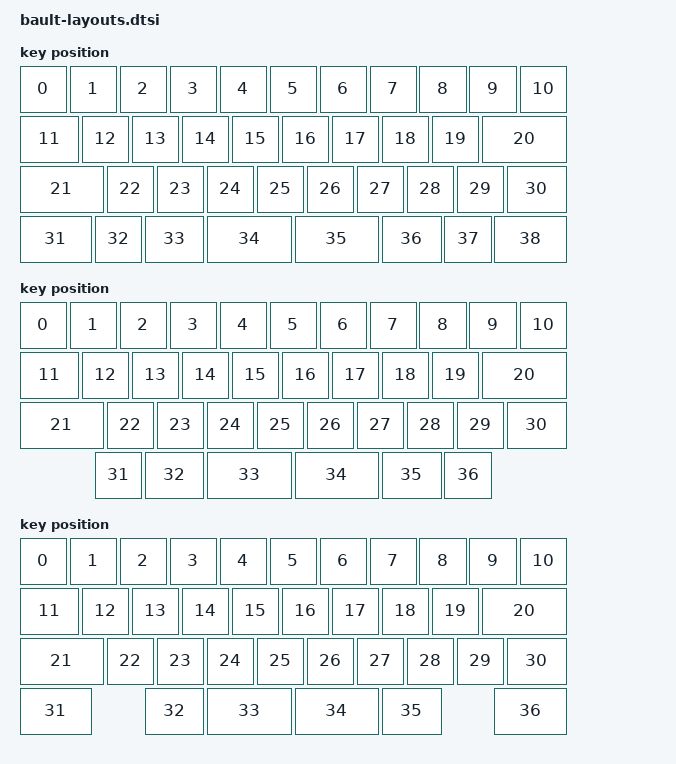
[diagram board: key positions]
/*
 * Copyright (c) 2024 Brandon Beltran
 *
 * SPDX-License-Identifier: MIT
 */

#include <physical_layouts.dtsi>

/ {
    chosen {
        zmk,physical-layout = &default_layout;
    };

    default_layout: layout_0 {
        compatible = "zmk,physical-layout";
        display-name = "Default";

        transform = <&default_transform>;

        keys  //                     w   h    x    y     rot   rx   ry
            = <&key_physical_attrs 100 100    0    0       0    0    0>
            , <&key_physical_attrs 100 100  100    0       0    0    0>
            , <&key_physical_attrs 100 100  200    0       0    0    0>
            , <&key_physical_attrs 100 100  300    0       0    0    0>
            , <&key_physical_attrs 100 100  400    0       0    0    0>
            , <&key_physical_attrs 100 100  500    0       0    0    0>
            , <&key_physical_attrs 100 100  600    0       0    0    0>
            , <&key_physical_attrs 100 100  700    0       0    0    0>
            , <&key_physical_attrs 100 100  800    0       0    0    0>
            , <&key_physical_attrs 100 100  900    0       0    0    0>
            , <&key_physical_attrs 100 100 1000    0       0    0    0>
            , <&key_physical_attrs 125 100    0  100       0    0    0>
            , <&key_physical_attrs 100 100  125  100       0    0    0>
            , <&key_physical_attrs 100 100  225  100       0    0    0>
            , <&key_physical_attrs 100 100  325  100       0    0    0>
            , <&key_physical_attrs 100 100  425  100       0    0    0>
            , <&key_physical_attrs 100 100  525  100       0    0    0>
            , <&key_physical_attrs 100 100  625  100       0    0    0>
            , <&key_physical_attrs 100 100  725  100       0    0    0>
            , <&key_physical_attrs 100 100  825  100       0    0    0>
            , <&key_physical_attrs 175 100  925  100       0    0    0>
            , <&key_physical_attrs 175 100    0  200       0    0    0>
            , <&key_physical_attrs 100 100  175  200       0    0    0>
            , <&key_physical_attrs 100 100  275  200       0    0    0>
            , <&key_physical_attrs 100 100  375  200       0    0    0>
            , <&key_physical_attrs 100 100  475  200       0    0    0>
            , <&key_physical_attrs 100 100  575  200       0    0    0>
            , <&key_physical_attrs 100 100  675  200       0    0    0>
            , <&key_physical_attrs 100 100  775  200       0    0    0>
            , <&key_physical_attrs 100 100  875  200       0    0    0>
            , <&key_physical_attrs 125 100  975  200       0    0    0>
            , <&key_physical_attrs 150 100    0  300       0    0    0>
            , <&key_physical_attrs 100 100  150  300       0    0    0>
            , <&key_physical_attrs 125 100  250  300       0    0    0>
            , <&key_physical_attrs 175 100  375  300       0    0    0>
            , <&key_physical_attrs 175 100  550  300       0    0    0>
            , <&key_physical_attrs 125 100  725  300       0    0    0>
            , <&key_physical_attrs 100 100  850  300       0    0    0>
            , <&key_physical_attrs 150 100  950  300       0    0    0>
            ;
    };

/*
    default_5key_layout: layout_1 {
        compatible = "zmk,physical-layout";
        display-name = "Default / 5-key split";

        transform = <&default_5key_transform>;

        keys  //                     w   h    x    y     rot   rx   ry
            = <&key_physical_attrs 100 100    0    0       0    0    0>
            , <&key_physical_attrs 100 100  100    0       0    0    0>
            , <&key_physical_attrs 100 100  200    0       0    0    0>
            , <&key_physical_attrs 100 100  300    0       0    0    0>
            , <&key_physical_attrs 100 100  400    0       0    0    0>
            , <&key_physical_attrs 100 100  500    0       0    0    0>
            , <&key_physical_attrs 100 100  600    0       0    0    0>
            , <&key_physical_attrs 100 100  700    0       0    0    0>
            , <&key_physical_attrs 100 100  800    0       0    0    0>
            , <&key_physical_attrs 100 100  900    0       0    0    0>
            , <&key_physical_attrs 100 100 1000    0       0    0    0>
            , <&key_physical_attrs 125 100    0  100       0    0    0>
            , <&key_physical_attrs 100 100  125  100       0    0    0>
            , <&key_physical_attrs 100 100  225  100       0    0    0>
            , <&key_physical_attrs 100 100  325  100       0    0    0>
            , <&key_physical_attrs 100 100  425  100       0    0    0>
            , <&key_physical_attrs 100 100  525  100       0    0    0>
            , <&key_physical_attrs 100 100  625  100       0    0    0>
            , <&key_physical_attrs 100 100  725  100       0    0    0>
            , <&key_physical_attrs 100 100  825  100       0    0    0>
            , <&key_physical_attrs 175 100  925  100       0    0    0>
            , <&key_physical_attrs 175 100    0  200       0    0    0>
            , <&key_physical_attrs 100 100  175  200       0    0    0>
            , <&key_physical_attrs 100 100  275  200       0    0    0>
            , <&key_physical_attrs 100 100  375  200       0    0    0>
            , <&key_physical_attrs 100 100  475  200       0    0    0>
            , <&key_physical_attrs 100 100  575  200       0    0    0>
            , <&key_physical_attrs 100 100  675  200       0    0    0>
            , <&key_physical_attrs 100 100  775  200       0    0    0>
            , <&key_physical_attrs 100 100  875  200       0    0    0>
            , <&key_physical_attrs 125 100  975  200       0    0    0>
            , <&key_physical_attrs 150 100    0  300       0    0    0>
            , <&key_physical_attrs 125 100  150  300       0    0    0>
            , <&key_physical_attrs 125 100  275  300       0    0    0>
            , <&key_physical_attrs 300 100  400  300       0    0    0>
            , <&key_physical_attrs 125 100  700  300       0    0    0>
            , <&key_physical_attrs 125 100  825  300       0    0    0>
            , <&key_physical_attrs 150 100  950  300       0    0    0>
            ;
    };

    default_4key_layout: layout_2 {
        compatible = "zmk,physical-layout";
        display-name = "Default / 4-key split";

        transform = <&default_4key_transform>;


        keys  //                     w   h    x    y     rot   rx   ry
            = <&key_physical_attrs 100 100    0    0       0    0    0>
            , <&key_physical_attrs 100 100  100    0       0    0    0>
            , <&key_physical_attrs 100 100  200    0       0    0    0>
            , <&key_physical_attrs 100 100  300    0       0    0    0>
            , <&key_physical_attrs 100 100  400    0       0    0    0>
            , <&key_physical_attrs 100 100  500    0       0    0    0>
            , <&key_physical_attrs 100 100  600    0       0    0    0>
            , <&key_physical_attrs 100 100  700    0       0    0    0>
            , <&key_physical_attrs 100 100  800    0       0    0    0>
            , <&key_physical_attrs 100 100  900    0       0    0    0>
            , <&key_physical_attrs 100 100 1000    0       0    0    0>
            , <&key_physical_attrs 125 100    0  100       0    0    0>
            , <&key_physical_attrs 100 100  125  100       0    0    0>
            , <&key_physical_attrs 100 100  225  100       0    0    0>
            , <&key_physical_attrs 100 100  325  100       0    0    0>
            , <&key_physical_attrs 100 100  425  100       0    0    0>
            , <&key_physical_attrs 100 100  525  100       0    0    0>
            , <&key_physical_attrs 100 100  625  100       0    0    0>
            , <&key_physical_attrs 100 100  725  100       0    0    0>
            , <&key_physical_attrs 100 100  825  100       0    0    0>
            , <&key_physical_attrs 175 100  925  100       0    0    0>
            , <&key_physical_attrs 175 100    0  200       0    0    0>
            , <&key_physical_attrs 100 100  175  200       0    0    0>
            , <&key_physical_attrs 100 100  275  200       0    0    0>
            , <&key_physical_attrs 100 100  375  200       0    0    0>
            , <&key_physical_attrs 100 100  475  200       0    0    0>
            , <&key_physical_attrs 100 100  575  200       0    0    0>
            , <&key_physical_attrs 100 100  675  200       0    0    0>
            , <&key_physical_attrs 100 100  775  200       0    0    0>
            , <&key_physical_attrs 100 100  875  200       0    0    0>
            , <&key_physical_attrs 125 100  975  200       0    0    0>
            , <&key_physical_attrs 150 100    0  300       0    0    0>
            , <&key_physical_attrs 100 100  150  300       0    0    0>
            , <&key_physical_attrs 300 100  250  300       0    0    0>
            , <&key_physical_attrs 300 100  550  300       0    0    0>
            , <&key_physical_attrs 100 100  850  300       0    0    0>
            , <&key_physical_attrs 150 100  950  300       0    0    0>
            ;
    };

    default_bigbar_layout: layout_3 {
        compatible = "zmk,physical-layout";
        display-name = "Default / Big Bar";

        transform = <&default_bigbar_transform>;

        keys  //                     w   h    x    y     rot   rx   ry
            = <&key_physical_attrs 100 100    0    0       0    0    0>
            , <&key_physical_attrs 100 100  100    0       0    0    0>
            , <&key_physical_attrs 100 100  200    0       0    0    0>
            , <&key_physical_attrs 100 100  300    0       0    0    0>
            , <&key_physical_attrs 100 100  400    0       0    0    0>
            , <&key_physical_attrs 100 100  500    0       0    0    0>
            , <&key_physical_attrs 100 100  600    0       0    0    0>
            , <&key_physical_attrs 100 100  700    0       0    0    0>
            , <&key_physical_attrs 100 100  800    0       0    0    0>
            , <&key_physical_attrs 100 100  900    0       0    0    0>
            , <&key_physical_attrs 100 100 1000    0       0    0    0>
            , <&key_physical_attrs 125 100    0  100       0    0    0>
            , <&key_physical_attrs 100 100  125  100       0    0    0>
            , <&key_physical_attrs 100 100  225  100       0    0    0>
            , <&key_physical_attrs 100 100  325  100       0    0    0>
            , <&key_physical_attrs 100 100  425  100       0    0    0>
            , <&key_physical_attrs 100 100  525  100       0    0    0>
            , <&key_physical_attrs 100 100  625  100       0    0    0>
            , <&key_physical_attrs 100 100  725  100       0    0    0>
            , <&key_physical_attrs 100 100  825  100       0    0    0>
            , <&key_physical_attrs 175 100  925  100       0    0    0>
            , <&key_physical_attrs 175 100    0  200       0    0    0>
            , <&key_physical_attrs 100 100  175  200       0    0    0>
            , <&key_physical_attrs 100 100  275  200       0    0    0>
            , <&key_physical_attrs 100 100  375  200       0    0    0>
            , <&key_physical_attrs 100 100  475  200       0    0    0>
            , <&key_physical_attrs 100 100  575  200       0    0    0>
            , <&key_physical_attrs 100 100  675  200       0    0    0>
            , <&key_physical_attrs 100 100  775  200       0    0    0>
            , <&key_physical_attrs 100 100  875  200       0    0    0>
            , <&key_physical_attrs 125 100  975  200       0    0    0>
            , <&key_physical_attrs 150 100    0  300       0    0    0>
            , <&key_physical_attrs 100 100  150  300       0    0    0>
            , <&key_physical_attrs 600 100  250  300       0    0    0>
            , <&key_physical_attrs 100 100  850  300       0    0    0>
            , <&key_physical_attrs 150 100  950  300       0    0    0>
            ;
    };
*/

    hhkb_layout: layout_4 {
        compatible = "zmk,physical-layout";
        display-name = "HHKB";

        transform = <&hhkb_transform>;

        keys  //                     w   h    x    y     rot   rx   ry
            = <&key_physical_attrs 100 100    0    0       0    0    0>
            , <&key_physical_attrs 100 100  100    0       0    0    0>
            , <&key_physical_attrs 100 100  200    0       0    0    0>
            , <&key_physical_attrs 100 100  300    0       0    0    0>
            , <&key_physical_attrs 100 100  400    0       0    0    0>
            , <&key_physical_attrs 100 100  500    0       0    0    0>
            , <&key_physical_attrs 100 100  600    0       0    0    0>
            , <&key_physical_attrs 100 100  700    0       0    0    0>
            , <&key_physical_attrs 100 100  800    0       0    0    0>
            , <&key_physical_attrs 100 100  900    0       0    0    0>
            , <&key_physical_attrs 100 100 1000    0       0    0    0>
            , <&key_physical_attrs 125 100    0  100       0    0    0>
            , <&key_physical_attrs 100 100  125  100       0    0    0>
            , <&key_physical_attrs 100 100  225  100       0    0    0>
            , <&key_physical_attrs 100 100  325  100       0    0    0>
            , <&key_physical_attrs 100 100  425  100       0    0    0>
            , <&key_physical_attrs 100 100  525  100       0    0    0>
            , <&key_physical_attrs 100 100  625  100       0    0    0>
            , <&key_physical_attrs 100 100  725  100       0    0    0>
            , <&key_physical_attrs 100 100  825  100       0    0    0>
            , <&key_physical_attrs 175 100  925  100       0    0    0>
            , <&key_physical_attrs 175 100    0  200       0    0    0>
            , <&key_physical_attrs 100 100  175  200       0    0    0>
            , <&key_physical_attrs 100 100  275  200       0    0    0>
            , <&key_physical_attrs 100 100  375  200       0    0    0>
            , <&key_physical_attrs 100 100  475  200       0    0    0>
            , <&key_physical_attrs 100 100  575  200       0    0    0>
            , <&key_physical_attrs 100 100  675  200       0    0    0>
            , <&key_physical_attrs 100 100  775  200       0    0    0>
            , <&key_physical_attrs 100 100  875  200       0    0    0>
            , <&key_physical_attrs 125 100  975  200       0    0    0>
            , <&key_physical_attrs 100 100  150  300       0    0    0>
            , <&key_physical_attrs 125 100  250  300       0    0    0>
            , <&key_physical_attrs 175 100  375  300       0    0    0>
            , <&key_physical_attrs 175 100  550  300       0    0    0>
            , <&key_physical_attrs 125 100  725  300       0    0    0>
            , <&key_physical_attrs 100 100  850  300       0    0    0>
            ;
    };

/*
    hhkb_5key_layout: layout_5 {
        compatible = "zmk,physical-layout";
        display-name = "HHKB / 5-key split";

        transform = <&hhkb_5key_transform>;

        keys  //                     w   h    x    y     rot   rx   ry
            = <&key_physical_attrs 100 100    0    0       0    0    0>
            , <&key_physical_attrs 100 100  100    0       0    0    0>
            , <&key_physical_attrs 100 100  200    0       0    0    0>
            , <&key_physical_attrs 100 100  300    0       0    0    0>
            , <&key_physical_attrs 100 100  400    0       0    0    0>
            , <&key_physical_attrs 100 100  500    0       0    0    0>
            , <&key_physical_attrs 100 100  600    0       0    0    0>
            , <&key_physical_attrs 100 100  700    0       0    0    0>
            , <&key_physical_attrs 100 100  800    0       0    0    0>
            , <&key_physical_attrs 100 100  900    0       0    0    0>
            , <&key_physical_attrs 100 100 1000    0       0    0    0>
            , <&key_physical_attrs 125 100    0  100       0    0    0>
            , <&key_physical_attrs 100 100  125  100       0    0    0>
            , <&key_physical_attrs 100 100  225  100       0    0    0>
            , <&key_physical_attrs 100 100  325  100       0    0    0>
            , <&key_physical_attrs 100 100  425  100       0    0    0>
            , <&key_physical_attrs 100 100  525  100       0    0    0>
            , <&key_physical_attrs 100 100  625  100       0    0    0>
            , <&key_physical_attrs 100 100  725  100       0    0    0>
            , <&key_physical_attrs 100 100  825  100       0    0    0>
            , <&key_physical_attrs 175 100  925  100       0    0    0>
            , <&key_physical_attrs 175 100    0  200       0    0    0>
            , <&key_physical_attrs 100 100  175  200       0    0    0>
            , <&key_physical_attrs 100 100  275  200       0    0    0>
            , <&key_physical_attrs 100 100  375  200       0    0    0>
            , <&key_physical_attrs 100 100  475  200       0    0    0>
            , <&key_physical_attrs 100 100  575  200       0    0    0>
            , <&key_physical_attrs 100 100  675  200       0    0    0>
            , <&key_physical_attrs 100 100  775  200       0    0    0>
            , <&key_physical_attrs 100 100  875  200       0    0    0>
            , <&key_physical_attrs 125 100  975  200       0    0    0>
            , <&key_physical_attrs 125 100  150  300       0    0    0>
            , <&key_physical_attrs 125 100  275  300       0    0    0>
            , <&key_physical_attrs 300 100  400  300       0    0    0>
            , <&key_physical_attrs 125 100  700  300       0    0    0>
            , <&key_physical_attrs 125 100  825  300       0    0    0>
            ;
    };

    hhkb_4key_layout: layout_6 {
        compatible = "zmk,physical-layout";
        display-name = "HHKB / 4-key split";

        transform = <&hhkb_4key_transform>;

        keys  //                     w   h    x    y     rot   rx   ry
            = <&key_physical_attrs 100 100    0    0       0    0    0>
            , <&key_physical_attrs 100 100  100    0       0    0    0>
            , <&key_physical_attrs 100 100  200    0       0    0    0>
            , <&key_physical_attrs 100 100  300    0       0    0    0>
            , <&key_physical_attrs 100 100  400    0       0    0    0>
            , <&key_physical_attrs 100 100  500    0       0    0    0>
            , <&key_physical_attrs 100 100  600    0       0    0    0>
            , <&key_physical_attrs 100 100  700    0       0    0    0>
            , <&key_physical_attrs 100 100  800    0       0    0    0>
            , <&key_physical_attrs 100 100  900    0       0    0    0>
            , <&key_physical_attrs 100 100 1000    0       0    0    0>
            , <&key_physical_attrs 125 100    0  100       0    0    0>
            , <&key_physical_attrs 100 100  125  100       0    0    0>
            , <&key_physical_attrs 100 100  225  100       0    0    0>
            , <&key_physical_attrs 100 100  325  100       0    0    0>
            , <&key_physical_attrs 100 100  425  100       0    0    0>
            , <&key_physical_attrs 100 100  525  100       0    0    0>
            , <&key_physical_attrs 100 100  625  100       0    0    0>
            , <&key_physical_attrs 100 100  725  100       0    0    0>
            , <&key_physical_attrs 100 100  825  100       0    0    0>
            , <&key_physical_attrs 175 100  925  100       0    0    0>
            , <&key_physical_attrs 175 100    0  200       0    0    0>
            , <&key_physical_attrs 100 100  175  200       0    0    0>
            , <&key_physical_attrs 100 100  275  200       0    0    0>
            , <&key_physical_attrs 100 100  375  200       0    0    0>
            , <&key_physical_attrs 100 100  475  200       0    0    0>
            , <&key_physical_attrs 100 100  575  200       0    0    0>
            , <&key_physical_attrs 100 100  675  200       0    0    0>
            , <&key_physical_attrs 100 100  775  200       0    0    0>
            , <&key_physical_attrs 100 100  875  200       0    0    0>
            , <&key_physical_attrs 125 100  975  200       0    0    0>
            , <&key_physical_attrs 100 100  150  300       0    0    0>
            , <&key_physical_attrs 300 100  250  300       0    0    0>
            , <&key_physical_attrs 300 100  550  300       0    0    0>
            , <&key_physical_attrs 100 100  850  300       0    0    0>
            ;
    };

    hhkb_bigbar_layout: layout_7 {
        compatible = "zmk,physical-layout";
        display-name = "HHKB / Big Bar";

        transform = <&hhkb_bigbar_transform>;

        keys  //                     w   h    x    y     rot   rx   ry
            = <&key_physical_attrs 100 100    0    0       0    0    0>
            , <&key_physical_attrs 100 100  100    0       0    0    0>
            , <&key_physical_attrs 100 100  200    0       0    0    0>
            , <&key_physical_attrs 100 100  300    0       0    0    0>
            , <&key_physical_attrs 100 100  400    0       0    0    0>
            , <&key_physical_attrs 100 100  500    0       0    0    0>
            , <&key_physical_attrs 100 100  600    0       0    0    0>
            , <&key_physical_attrs 100 100  700    0       0    0    0>
            , <&key_physical_attrs 100 100  800    0       0    0    0>
            , <&key_physical_attrs 100 100  900    0       0    0    0>
            , <&key_physical_attrs 100 100 1000    0       0    0    0>
            , <&key_physical_attrs 125 100    0  100       0    0    0>
            , <&key_physical_attrs 100 100  125  100       0    0    0>
            , <&key_physical_attrs 100 100  225  100       0    0    0>
            , <&key_physical_attrs 100 100  325  100       0    0    0>
            , <&key_physical_attrs 100 100  425  100       0    0    0>
            , <&key_physical_attrs 100 100  525  100       0    0    0>
            , <&key_physical_attrs 100 100  625  100       0    0    0>
            , <&key_physical_attrs 100 100  725  100       0    0    0>
            , <&key_physical_attrs 100 100  825  100       0    0    0>
            , <&key_physical_attrs 175 100  925  100       0    0    0>
            , <&key_physical_attrs 175 100    0  200       0    0    0>
            , <&key_physical_attrs 100 100  175  200       0    0    0>
            , <&key_physical_attrs 100 100  275  200       0    0    0>
            , <&key_physical_attrs 100 100  375  200       0    0    0>
            , <&key_physical_attrs 100 100  475  200       0    0    0>
            , <&key_physical_attrs 100 100  575  200       0    0    0>
            , <&key_physical_attrs 100 100  675  200       0    0    0>
            , <&key_physical_attrs 100 100  775  200       0    0    0>
            , <&key_physical_attrs 100 100  875  200       0    0    0>
            , <&key_physical_attrs 125 100  975  200       0    0    0>
            , <&key_physical_attrs 100 100  150  300       0    0    0>
            , <&key_physical_attrs 600 100  250  300       0    0    0>
            , <&key_physical_attrs 100 100  850  300       0    0    0>
            ;
    };
*/

    wkl_layout: layout_8 {
        compatible = "zmk,physical-layout";
        display-name = "WKL";

        transform = <&wkl_transform>;

        keys  //                     w   h    x    y     rot   rx   ry
            = <&key_physical_attrs 100 100    0    0       0    0    0>
            , <&key_physical_attrs 100 100  100    0       0    0    0>
            , <&key_physical_attrs 100 100  200    0       0    0    0>
            , <&key_physical_attrs 100 100  300    0       0    0    0>
            , <&key_physical_attrs 100 100  400    0       0    0    0>
            , <&key_physical_attrs 100 100  500    0       0    0    0>
            , <&key_physical_attrs 100 100  600    0       0    0    0>
            , <&key_physical_attrs 100 100  700    0       0    0    0>
            , <&key_physical_attrs 100 100  800    0       0    0    0>
            , <&key_physical_attrs 100 100  900    0       0    0    0>
            , <&key_physical_attrs 100 100 1000    0       0    0    0>
            , <&key_physical_attrs 125 100    0  100       0    0    0>
            , <&key_physical_attrs 100 100  125  100       0    0    0>
            , <&key_physical_attrs 100 100  225  100       0    0    0>
            , <&key_physical_attrs 100 100  325  100       0    0    0>
            , <&key_physical_attrs 100 100  425  100       0    0    0>
            , <&key_physical_attrs 100 100  525  100       0    0    0>
            , <&key_physical_attrs 100 100  625  100       0    0    0>
            , <&key_physical_attrs 100 100  725  100       0    0    0>
            , <&key_physical_attrs 100 100  825  100       0    0    0>
            , <&key_physical_attrs 175 100  925  100       0    0    0>
            , <&key_physical_attrs 175 100    0  200       0    0    0>
            , <&key_physical_attrs 100 100  175  200       0    0    0>
            , <&key_physical_attrs 100 100  275  200       0    0    0>
            , <&key_physical_attrs 100 100  375  200       0    0    0>
            , <&key_physical_attrs 100 100  475  200       0    0    0>
            , <&key_physical_attrs 100 100  575  200       0    0    0>
            , <&key_physical_attrs 100 100  675  200       0    0    0>
            , <&key_physical_attrs 100 100  775  200       0    0    0>
            , <&key_physical_attrs 100 100  875  200       0    0    0>
            , <&key_physical_attrs 125 100  975  200       0    0    0>
            , <&key_physical_attrs 150 100    0  300       0    0    0>
            , <&key_physical_attrs 125 100  250  300       0    0    0>
            , <&key_physical_attrs 175 100  375  300       0    0    0>
            , <&key_physical_attrs 175 100  550  300       0    0    0>
            , <&key_physical_attrs 125 100  725  300       0    0    0>
            , <&key_physical_attrs 150 100  950  300       0    0    0>
            ;
    };

/*
    wkl_3key_layout: layout_9 {
        compatible = "zmk,physical-layout";
        display-name = "WKL / 3-key split";

        transform = <&wkl_3key_transform>;

        keys  //                     w   h    x    y     rot   rx   ry
            = <&key_physical_attrs 100 100    0    0       0    0    0>
            , <&key_physical_attrs 100 100  100    0       0    0    0>
            , <&key_physical_attrs 100 100  200    0       0    0    0>
            , <&key_physical_attrs 100 100  300    0       0    0    0>
            , <&key_physical_attrs 100 100  400    0       0    0    0>
            , <&key_physical_attrs 100 100  500    0       0    0    0>
            , <&key_physical_attrs 100 100  600    0       0    0    0>
            , <&key_physical_attrs 100 100  700    0       0    0    0>
            , <&key_physical_attrs 100 100  800    0       0    0    0>
            , <&key_physical_attrs 100 100  900    0       0    0    0>
            , <&key_physical_attrs 100 100 1000    0       0    0    0>
            , <&key_physical_attrs 125 100    0  100       0    0    0>
            , <&key_physical_attrs 100 100  125  100       0    0    0>
            , <&key_physical_attrs 100 100  225  100       0    0    0>
            , <&key_physical_attrs 100 100  325  100       0    0    0>
            , <&key_physical_attrs 100 100  425  100       0    0    0>
            , <&key_physical_attrs 100 100  525  100       0    0    0>
            , <&key_physical_attrs 100 100  625  100       0    0    0>
            , <&key_physical_attrs 100 100  725  100       0    0    0>
            , <&key_physical_attrs 100 100  825  100       0    0    0>
            , <&key_physical_attrs 175 100  925  100       0    0    0>
            , <&key_physical_attrs 175 100    0  200       0    0    0>
            , <&key_physical_attrs 100 100  175  200       0    0    0>
            , <&key_physical_attrs 100 100  275  200       0    0    0>
            , <&key_physical_attrs 100 100  375  200       0    0    0>
            , <&key_physical_attrs 100 100  475  200       0    0    0>
            , <&key_physical_attrs 100 100  575  200       0    0    0>
            , <&key_physical_attrs 100 100  675  200       0    0    0>
            , <&key_physical_attrs 100 100  775  200       0    0    0>
            , <&key_physical_attrs 100 100  875  200       0    0    0>
            , <&key_physical_attrs 125 100  975  200       0    0    0>
            , <&key_physical_attrs 150 100    0  300       0    0    0>
            , <&key_physical_attrs 150 100  250  300       0    0    0>
            , <&key_physical_attrs 300 100  400  300       0    0    0>
            , <&key_physical_attrs 150 100  700  300       0    0    0>
            , <&key_physical_attrs 150 100  950  300       0    0    0>
            ;
    };

    wkl_2key_layout: layout_10 {
        compatible = "zmk,physical-layout";
        display-name = "WKL / 2-key split";

        transform = <&wkl_2key_transform>;

        keys  //                     w   h    x    y     rot   rx   ry
            = <&key_physical_attrs 100 100    0    0       0    0    0>
            , <&key_physical_attrs 100 100  100    0       0    0    0>
            , <&key_physical_attrs 100 100  200    0       0    0    0>
            , <&key_physical_attrs 100 100  300    0       0    0    0>
            , <&key_physical_attrs 100 100  400    0       0    0    0>
            , <&key_physical_attrs 100 100  500    0       0    0    0>
            , <&key_physical_attrs 100 100  600    0       0    0    0>
            , <&key_physical_attrs 100 100  700    0       0    0    0>
            , <&key_physical_attrs 100 100  800    0       0    0    0>
            , <&key_physical_attrs 100 100  900    0       0    0    0>
            , <&key_physical_attrs 100 100 1000    0       0    0    0>
            , <&key_physical_attrs 125 100    0  100       0    0    0>
            , <&key_physical_attrs 100 100  125  100       0    0    0>
            , <&key_physical_attrs 100 100  225  100       0    0    0>
            , <&key_physical_attrs 100 100  325  100       0    0    0>
            , <&key_physical_attrs 100 100  425  100       0    0    0>
            , <&key_physical_attrs 100 100  525  100       0    0    0>
            , <&key_physical_attrs 100 100  625  100       0    0    0>
            , <&key_physical_attrs 100 100  725  100       0    0    0>
            , <&key_physical_attrs 100 100  825  100       0    0    0>
            , <&key_physical_attrs 175 100  925  100       0    0    0>
            , <&key_physical_attrs 175 100    0  200       0    0    0>
            , <&key_physical_attrs 100 100  175  200       0    0    0>
            , <&key_physical_attrs 100 100  275  200       0    0    0>
            , <&key_physical_attrs 100 100  375  200       0    0    0>
            , <&key_physical_attrs 100 100  475  200       0    0    0>
            , <&key_physical_attrs 100 100  575  200       0    0    0>
            , <&key_physical_attrs 100 100  675  200       0    0    0>
            , <&key_physical_attrs 100 100  775  200       0    0    0>
            , <&key_physical_attrs 100 100  875  200       0    0    0>
            , <&key_physical_attrs 125 100  975  200       0    0    0>
            , <&key_physical_attrs 150 100    0  300       0    0    0>
            , <&key_physical_attrs 300 100  250  300       0    0    0>
            , <&key_physical_attrs 300 100  550  300       0    0    0>
            , <&key_physical_attrs 150 100  950  300       0    0    0>
            ;
    };

    wkl_bigbar_layout: layout_11 {
        compatible = "zmk,physical-layout";
        display-name = "WKL / Big Bar";

        transform = <&wkl_bigbar_transform>;

        keys  //                     w   h    x    y     rot   rx   ry
            = <&key_physical_attrs 100 100    0    0       0    0    0>
            , <&key_physical_attrs 100 100  100    0       0    0    0>
            , <&key_physical_attrs 100 100  200    0       0    0    0>
            , <&key_physical_attrs 100 100  300    0       0    0    0>
            , <&key_physical_attrs 100 100  400    0       0    0    0>
            , <&key_physical_attrs 100 100  500    0       0    0    0>
            , <&key_physical_attrs 100 100  600    0       0    0    0>
            , <&key_physical_attrs 100 100  700    0       0    0    0>
            , <&key_physical_attrs 100 100  800    0       0    0    0>
            , <&key_physical_attrs 100 100  900    0       0    0    0>
            , <&key_physical_attrs 100 100 1000    0       0    0    0>
            , <&key_physical_attrs 125 100    0  100       0    0    0>
            , <&key_physical_attrs 100 100  125  100       0    0    0>
            , <&key_physical_attrs 100 100  225  100       0    0    0>
            , <&key_physical_attrs 100 100  325  100       0    0    0>
            , <&key_physical_attrs 100 100  425  100       0    0    0>
            , <&key_physical_attrs 100 100  525  100       0    0    0>
            , <&key_physical_attrs 100 100  625  100       0    0    0>
            , <&key_physical_attrs 100 100  725  100       0    0    0>
            , <&key_physical_attrs 100 100  825  100       0    0    0>
            , <&key_physical_attrs 175 100  925  100       0    0    0>
            , <&key_physical_attrs 175 100    0  200       0    0    0>
            , <&key_physical_attrs 100 100  175  200       0    0    0>
            , <&key_physical_attrs 100 100  275  200       0    0    0>
            , <&key_physical_attrs 100 100  375  200       0    0    0>
            , <&key_physical_attrs 100 100  475  200       0    0    0>
            , <&key_physical_attrs 100 100  575  200       0    0    0>
            , <&key_physical_attrs 100 100  675  200       0    0    0>
            , <&key_physical_attrs 100 100  775  200       0    0    0>
            , <&key_physical_attrs 100 100  875  200       0    0    0>
            , <&key_physical_attrs 125 100  975  200       0    0    0>
            , <&key_physical_attrs 150 100    0  300       0    0    0>
            , <&key_physical_attrs 600 100  250  300       0    0    0>
            , <&key_physical_attrs 150 100  950  300       0    0    0>
            ;
    };
*/
};
